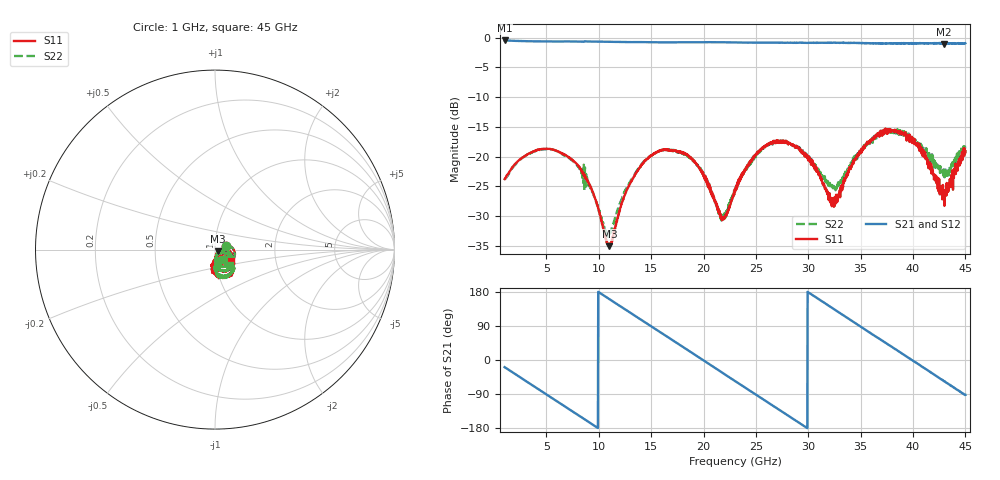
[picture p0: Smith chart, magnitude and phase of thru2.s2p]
!Keysight Technologies,N5247B,MY61255062,A.19.80.06
!Date: Thursday, May 21, 2026 12:04:29
!Correction: S11(Cdelta 2-Port  )
!S21(Cdelta 2-Port  )
!S12(Cdelta 2-Port  )
!S22(Cdelta 2-Port  )
!S2P File: Measurements: S11, S21, S12, S22:
# Hz S  dB  R 50
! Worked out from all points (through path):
!   1601 points, 1 GHz to 45 GHz, reference 50 ohm
!   highest |S21| = -0.47 dB at 1 GHz (marker M1); lowest = -1.0 dB at 42.97 GHz (marker M2)
!   group delay of S21, straight-line fit = 50.1 ps
!   lowest |S11| = -35.1 dB at 11.01 GHz (marker M3), VSWR 1.04, Z = 51.5 - j1.03 ohm
!   |S11| at or under -10 dB: start of sweep to end of sweep
!   |S22| runs from -33.5 to -15.4 dB; largest |S21 - S12| = 0.02
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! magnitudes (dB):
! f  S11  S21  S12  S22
! 1 GHz  -23.8  -0.5  -0.5  -23.8
! 2.65 GHz  -20.3  -0.6  -0.6  -20.3
! 4.795 GHz  -18.7  -0.6  -0.6  -18.8
! 8.342 GHz  -22.3  -0.7  -0.7  -22.8
! 9.47 GHz  -26.2  -0.7  -0.7  -26.4
! 10.6 GHz  -33.3  -0.7  -0.7  -32.2
! 11.01 GHz  -35.1  -0.7  -0.7  -33.1
! 12.99 GHz  -24.5  -0.8  -0.8  -24.2
! 15.69 GHz  -19.2  -0.8  -0.8  -19.2
! 18.96 GHz  -20.6  -0.8  -0.8  -20.7
! 21.76 GHz  -30.7  -0.8  -0.8  -30.0
! 23 GHz  -25.8  -0.8  -0.8  -25.4
! 24.65 GHz  -20.6  -0.8  -0.8  -20.6
! 26.46 GHz  -17.8  -0.8  -0.8  -17.8
! 28.36 GHz  -18.0  -0.8  -0.9  -17.9
! 30.34 GHz  -21.4  -0.9  -0.9  -20.5
! 32.41 GHz  -27.9  -0.8  -0.9  -24.9
! 34.85 GHz  -19.6  -0.9  -0.9  -19.5
! 37.69 GHz  -15.6  -1.0  -1.0  -15.9
! 40.35 GHz  -17.8  -1.0  -0.9  -17.4
! 42.97 GHz  -26.6  -1.0  -1.0  -22.2
! 45 GHz  -19.1  -0.9  -1.0  -18.4
